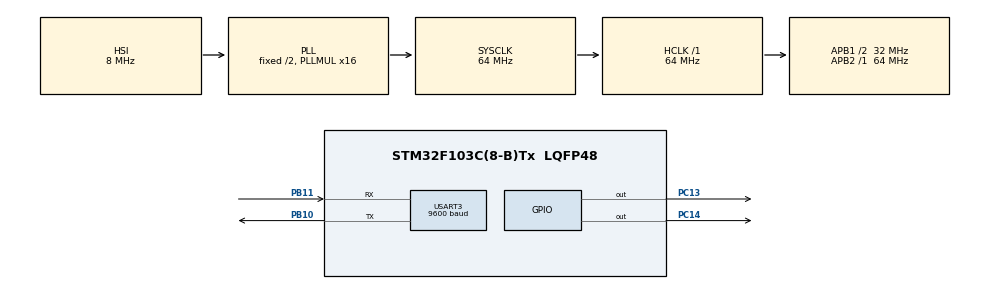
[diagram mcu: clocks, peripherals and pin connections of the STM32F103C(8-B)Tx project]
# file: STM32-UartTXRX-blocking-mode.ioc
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Mcu.Family=STM32F1
Mcu.Name=STM32F103C(8-B)Tx
Mcu.Package=LQFP48
NVIC.PriorityGroup=NVIC_PRIORITYGROUP_4
NVIC.USART3_IRQn=true\:0\:0\:false\:false\:true\:true\:true
PA13.Mode=Serial_Wire
PA13.Signal=SYS_JTMS-SWDIO
PA14.Mode=Serial_Wire
PA14.Signal=SYS_JTCK-SWCLK
PB10.Mode=Asynchronous
PB10.Signal=USART3_TX
PB11.Mode=Asynchronous
PB11.Signal=USART3_RX
PC13-TAMPER-RTC.Signal=GPIO_Output
PC14-OSC32_IN.Signal=GPIO_Output
ProjectManager.HeapSize=0x200
ProjectManager.StackSize=0x400
ProjectManager.TargetToolchain=STM32CubeIDE
RCC.AHBFreq_Value=64000000
RCC.APB1CLKDivider=RCC_HCLK_DIV2
RCC.APB1Freq_Value=32000000
RCC.APB1TimFreq_Value=64000000
RCC.APB2Freq_Value=64000000
RCC.APB2TimFreq_Value=64000000
RCC.HCLKFreq_Value=64000000
RCC.PLLMUL=RCC_PLL_MUL16
RCC.SYSCLKFreq_VALUE=64000000
RCC.SYSCLKSource=RCC_SYSCLKSOURCE_PLLCLK
RCC.USBFreq_Value=64000000
RTC.Date=28
RTC.Hours=22
RTC.Minutes=26
RTC.Month=RTC_MONTH_NOVEMBER
RTC.Seconds=33
RTC.WeekDay=RTC_WEEKDAY_THURSDAY
RTC.Year=19
USART3.BaudRate=9600
USART3.VirtualMode=VM_ASYNC
VP_RTC_No_RTC_Output.Mode=RTC_OUT_NO
VP_RTC_VS_RTC_Activate.Mode=RTC_Enabled
VP_RTC_VS_RTC_Calendar.Mode=RTC_Calendar
board=custom

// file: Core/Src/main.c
/* USER CODE BEGIN Header */
/**
 ******************************************************************************
 * @file           : main.c
 * @brief          : Main program body
 ******************************************************************************
 * @attention
 *
 * <h2><center>&copy; Copyright (c) 2019 STMicroelectronics.
 * All rights reserved.</center></h2>
 *
 * This software component is licensed by ST under BSD 3-Clause license,
 * the "License"; You may not use this file except in compliance with the
 * License. You may obtain a copy of the License at:
 *                        opensource.org/licenses/BSD-3-Clause
 *
 ******************************************************************************
 */
/* USER CODE END Header */

#include "main.h"
#include "rtc.h"
#include "usart.h"
#include "gpio.h"

/* USER CODE BEGIN Includes */
#include "string.h"
#include "stdio.h"
#include "reset-cause.h"
#include "utils.h"
#include "constants.h"
#include "ringbuffer.h"

/* USER CODE END Includes */

/* USER CODE BEGIN PV */
RingBuffer txBuf, rxBuf;
uint8_t txData;
/* USER CODE END PV */

void SystemClock_Config(void);

/* USER CODE BEGIN 0 */
uint8_t UART_Transmit(UART_HandleTypeDef *huart, uint8_t *pData, uint16_t len) {
	if (HAL_UART_Transmit_IT(huart, pData, len) != HAL_OK) { //vero tentativo di trasmissione
		HAL_GPIO_WritePin(GPIOC, GPIO_PIN_13, GPIO_PIN_SET);
		HAL_GPIO_WritePin(GPIOC, GPIO_PIN_14, GPIO_PIN_SET);
		if (RingBuffer_Write(&txBuf, pData, len) != RING_BUFFER_OK) {
			for (int e = 0; e < 10; e++) {
				HAL_GPIO_WritePin(GPIOC, GPIO_PIN_13, GPIO_PIN_RESET);
				HAL_GPIO_WritePin(GPIOC, GPIO_PIN_14, GPIO_PIN_SET);
				HAL_Delay(200);
				HAL_GPIO_TogglePin(GPIOC, GPIO_PIN_13);
				HAL_GPIO_TogglePin(GPIOC, GPIO_PIN_14);
				HAL_Delay(200);
			}
			return 0;
		}
	}
	return 1;
}
void HAL_UART_TxCpltCallback(UART_HandleTypeDef *huart) {
	//callback chiamata quando ha finito invio di tutti i byte del parametro size (variabile "len" qui sopra)

	if (RingBuffer_GetDataLength(&txBuf) > 0) {
		RingBuffer_Read(&txBuf, &txData, 1);
		HAL_UART_Transmit_IT(huart, &txData, 1);
	} else {
		HAL_GPIO_WritePin(GPIOC, GPIO_PIN_13, GPIO_PIN_RESET);
		HAL_GPIO_WritePin(GPIOC, GPIO_PIN_14, GPIO_PIN_RESET);
	}
}
/* USER CODE END 0 */

int main(void) {

	/* MCU Configuration--------------------------------------------------------*/

	/* Reset of all peripherals, Initializes the Flash interface and the Systick. */
	HAL_Init();

	/* USER CODE BEGIN Init */

	//declareConst();
	/* USER CODE END Init */

	/* Configure the system clock */
	SystemClock_Config();

	/* Initialize all configured peripherals */
	MX_GPIO_Init();
	MX_RTC_Init();
	MX_USART3_UART_Init();
	/* USER CODE BEGIN 2 */

//	char* readInputTillEnter(char readBuf[]) {
//
//		int enterFound = 0;
//		int bufPosition = 0;
//		while (!enterFound) {
//			if (bufPosition == MAXINPUTBUF - 1) {
//				return readBuf;
//			}
//			char currentChar[1];
//			HAL_UART_Receive(&huart3, (uint8_t*) currentChar, 1,
//			HAL_MAX_DELAY);
//
//			if (currentChar[0] == '\r') {
//				readBuf[bufPosition] = '\0'; //terminate the array
//				enterFound = 1;
//			} else {
//				HAL_UART_Transmit(&huart3, (uint8_t*) currentChar, 1,
//				HAL_MAX_DELAY); //echo char back to terminal
//				readBuf[bufPosition] = currentChar[0];
//				bufPosition++;
//			}
//		}
//		return readBuf;
//	}
	HAL_GPIO_WritePin(GPIOC, GPIO_PIN_13, GPIO_PIN_RESET);
	HAL_GPIO_WritePin(GPIOC, GPIO_PIN_14, GPIO_PIN_RESET);

	print_reset_cause();
	HAL_Delay(1000);
	print_cpu_freq();
	HAL_Delay(100);

	/* USER CODE END 2 */

	/* Infinite loop */
	/* USER CODE BEGIN WHILE */
	while (1) {
		int i = 1000;

//		HAL_UART_Transmit(&huart3, (uint8_t*) MSG_INSERT_TEXT_AND_PRESS_ENTER,
//				strlen(MSG_INSERT_TEXT_AND_PRESS_ENTER), HAL_MAX_DELAY);

//		char readBuf[MAXINPUTBUF];
//		char *answer = readInputTillEnter(readBuf);
//
//		HAL_UART_Transmit(&huart3, (uint8_t*) MSG_YOU_WROTE,
//				strlen(MSG_YOU_WROTE), HAL_MAX_DELAY);
//		HAL_UART_Transmit(&huart3, (uint8_t*) answer, strlen(readBuf),
//				HAL_MAX_DELAY);

//		HAL_UART_Transmit(&huart3, (uint8_t*) MSG_TEST,	strlen(MSG_TEST), HAL_MAX_DELAY);

		//HAL_UART_Transmit_IT(&huart3, (uint8_t*) MSG_TEST1, strlen(MSG_TEST1));
		//HAL_UART_Transmit_IT(&huart3, (uint8_t*) MSG_TEST2, strlen(MSG_TEST2));

		UART_Transmit(&huart3, (uint8_t*) MSG_TEST1, strlen(MSG_TEST1));
		UART_Transmit(&huart3, (uint8_t*) MSG_TEST2, strlen(MSG_TEST2));

		HAL_Delay(i);

		/* USER CODE END WHILE */

	}
}

void SystemClock_Config(void) {
	RCC_OscInitTypeDef RCC_OscInitStruct = { 0 };
	RCC_ClkInitTypeDef RCC_ClkInitStruct = { 0 };
	RCC_PeriphCLKInitTypeDef PeriphClkInit = { 0 };

	/** Initializes the CPU, AHB and APB busses clocks
	 */
	RCC_OscInitStruct.OscillatorType = RCC_OSCILLATORTYPE_HSI | RCC_OSCILLATORTYPE_LSI;
	RCC_OscInitStruct.HSIState = RCC_HSI_ON;
	RCC_OscInitStruct.HSICalibrationValue = RCC_HSICALIBRATION_DEFAULT;
	RCC_OscInitStruct.LSIState = RCC_LSI_ON;
	RCC_OscInitStruct.PLL.PLLState = RCC_PLL_ON;
	RCC_OscInitStruct.PLL.PLLSource = RCC_PLLSOURCE_HSI_DIV2;
	RCC_OscInitStruct.PLL.PLLMUL = RCC_PLL_MUL16;
	if (HAL_RCC_OscConfig(&RCC_OscInitStruct) != HAL_OK) {
		Error_Handler();
	}
	/** Initializes the CPU, AHB and APB busses clocks
	 */
	RCC_ClkInitStruct.ClockType = RCC_CLOCKTYPE_HCLK | RCC_CLOCKTYPE_SYSCLK | RCC_CLOCKTYPE_PCLK1 | RCC_CLOCKTYPE_PCLK2;
	RCC_ClkInitStruct.SYSCLKSource = RCC_SYSCLKSOURCE_PLLCLK;
	RCC_ClkInitStruct.AHBCLKDivider = RCC_SYSCLK_DIV1;
	RCC_ClkInitStruct.APB1CLKDivider = RCC_HCLK_DIV2;
	RCC_ClkInitStruct.APB2CLKDivider = RCC_HCLK_DIV1;

	if (HAL_RCC_ClockConfig(&RCC_ClkInitStruct, FLASH_LATENCY_2) != HAL_OK) {
		Error_Handler();
	}
	PeriphClkInit.PeriphClockSelection = RCC_PERIPHCLK_RTC;
	PeriphClkInit.RTCClockSelection = RCC_RTCCLKSOURCE_LSI;
	if (HAL_RCCEx_PeriphCLKConfig(&PeriphClkInit) != HAL_OK) {
		Error_Handler();
	}
}

void Error_Handler(void) {
}

/************************ (C) COPYRIGHT STMicroelectronics *****END OF FILE****/
